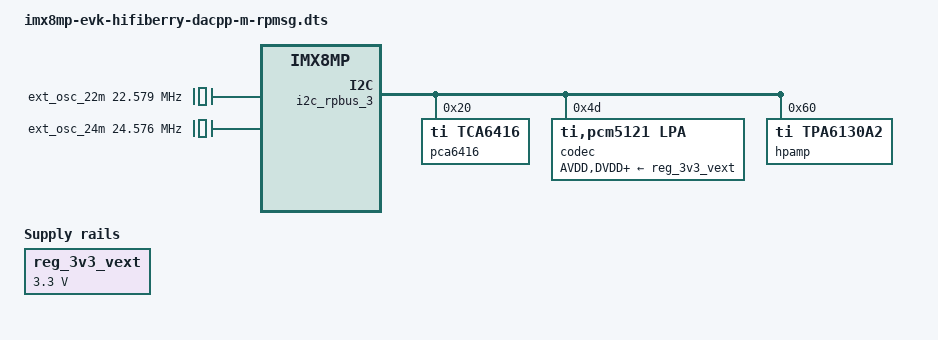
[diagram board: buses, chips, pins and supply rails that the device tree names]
// SPDX-License-Identifier: (GPL-2.0 OR MIT)
/*
 * Copyright 2020-2021 NXP
 */

/dts-v1/;

#include "imx8mp-evk-powersave-non-rpmsg.dts"

/ {
	aliases {
		i2c0 = &i2c1;
		i2c1 = &i2c2;
		i2c2 = &i2c_rpbus_3;
	};


        ext_osc_22m: ext-osc-22m {
                compatible = "fixed-clock";
                #clock-cells = <0>;
                clock-frequency = <22579200>;
                clock-output-names = "sclk0";
        };

        ext_osc_24m: ext-osc-24m {
                compatible = "fixed-clock";
                #clock-cells = <0>;
                clock-frequency = <24576000>;
                clock-output-names = "sclk1";
        };

        reg_3v3_vext: regulator-3v3-vext {
                compatible = "regulator-fixed";
                regulator-name = "3V3_VEXT";
                regulator-min-microvolt = <3300000>;
                regulator-max-microvolt = <3300000>;
        };


	reserved-memory {
		#address-cells = <2>;
		#size-cells = <2>;
		ranges;

		m4_reserved: m4@0x80000000 {
			no-map;
			reg = <0 0x80000000 0 0x1000000>;
		};

		vdev0vring0: vdev0vring0@55000000 {
			reg = <0 0x55000000 0 0x8000>;
			no-map;
		};

		vdev0vring1: vdev0vring1@55008000 {
			reg = <0 0x55008000 0 0x8000>;
			no-map;
		};

		vdevbuffer: vdevbuffer@55400000 {
			compatible = "shared-dma-pool";
			reg = <0 0x55400000 0 0x100000>;
			no-map;
		};

		rsc_table: rsc_table@550ff000 {
			reg = <0 0x550ff000 0 0x1000>;
			no-map;
		};

		audio_reserved: audio@0x81000000 {
			compatible = "shared-dma-pool";
			no-map;
			reg = <0 0x81000000 0 0x10000000>;
		};

		micfil_reserved: mic_rpmsg@91000000 {
			compatible = "shared-dma-pool";
			no-map;
			reg = <0 0x91000000 0 0x100000>;
		};
	};

	sound-wm8960 {
		status = "disabled";
	};

	sound-micfil {
		status = "disabled";
	};

	rpmsg_audio: rpmsg_audio {
		compatible = "fsl,imx8mp-rpmsg-audio";
		model = "pcm512x-audio";
		fsl,platform = "rpmsg-audio-channel";
		fsl,enable-lpa;
		fsl,rpmsg-out;
		fsl,rpmsg-in;
		pcm512x-sound-card;
		bitclock-master = <&codec>;
		frame-master = <&codec>;
		dac,24db_digital_gain;
		dac,led_status;
		clocks = <&audio_blk_ctrl IMX8MP_CLK_AUDIO_BLK_CTRL_SAI5_IPG>,
			 <&audio_blk_ctrl IMX8MP_CLK_AUDIO_BLK_CTRL_SDMA3_ROOT>,
			 <&audio_blk_ctrl IMX8MP_CLK_AUDIO_BLK_CTRL_OCRAMA_IPG>,
			 <&clk IMX8MP_AUDIO_PLL1_OUT>,
			 <&clk IMX8MP_AUDIO_PLL2_OUT>;
		clock-names = "ipg", "dma", "ocram", "pll8k", "pll11k";
		audio-codec = <&codec>;
		memory-region = <&audio_reserved>;
		power-domains = <&audiomix_pd>;
		status = "okay";
	};

	imx8mp-cm7 {
		compatible = "fsl,imx8mn-cm7";
		rsc-da = <0x55000000>;
		clocks = <&clk IMX8MP_CLK_M7_DIV>;
		mbox-names = "tx", "rx", "rxdb";
		mboxes = <&mu 0 1
			  &mu 1 1
			  &mu 3 1>;
		memory-region = <&vdevbuffer>, <&vdev0vring0>, <&vdev0vring1>, <&rsc_table>;
		status = "okay";
	};
};

/*
 * ATTENTION: M7 may use IPs like below
 * ECSPI0/ECSPI2, FLEXCAN, GPIO1/GPIO5, GPT1, I2C3, I2S3, UART4,
 * PWM4, SDMA1/SDMA2
 */
&ecspi2 {
	status = "disabled";
};

&flexcan1 {
	status = "disabled";
};

&flexspi {
	status = "disabled";
};

/delete-node/ &i2c3;

&i2c_rpbus_3 {
	compatible = "fsl,i2c-rpbus";
	#address-cells = <1>;
	#size-cells = <0>;
	status = "okay";

	pca6416: gpio@20 {
		compatible = "ti,tca6416";
		reg = <0x20>;
		gpio-controller;
		#gpio-cells = <2>;
	};

	ov5640_1: ov5640_mipi@3c {
		compatible = "ovti,ov5640";
		reg = <0x3c>;
		pinctrl-names = "default";
		pinctrl-0 = <&pinctrl_csi0_pwn>, <&pinctrl_csi0_rst>;
		clocks = <&clk IMX8MP_CLK_IPP_DO_CLKO2>;
		clock-names = "xclk";
		assigned-clocks = <&clk IMX8MP_CLK_IPP_DO_CLKO2>;
		assigned-clock-parents = <&clk IMX8MP_CLK_24M>;
		assigned-clock-rates = <24000000>;
		csi_id = <0>;
		powerdown-gpios = <&gpio4 1 GPIO_ACTIVE_HIGH>;
		reset-gpios = <&gpio4 0 GPIO_ACTIVE_LOW>;
		mclk = <24000000>;
		mclk_source = <0>;
		mipi_csi;
		status = "disabled";

		port {
			ov5640_mipi_1_ep: endpoint {
				remote-endpoint = <&mipi_csi1_ep>;
				data-lanes = <1 2>;
				clock-lanes = <0>;
			};
		};
	};

        codec: pcm512x@4d {
	       compatible = "ti,pcm5121,lpa";
	       reg = <0x4d>;
	       AVDD-supply = <&reg_3v3_vext>;
	       DVDD-supply = <&reg_3v3_vext>;
	       CPVDD-supply = <&reg_3v3_vext>;
	       clocks = <&ext_osc_22m>, <&ext_osc_24m>;
	       clock-names = "sclk0", "sclk1";
       };

        hpamp: hpamp@60 {
	       compatible = "ti,tpa6130a2";
	       reg = <0x60>;
	       status = "okay";
       };

};

&pwm4{
	status = "disabled";
};

&sai3 {
	status = "disabled";
};

&sai5 {
	status = "disabled";
};

&micfil {
	status = "disabled";
};

&sdma3{
	status = "disabled";
};

&uart4 {
	status = "disabled";
};
